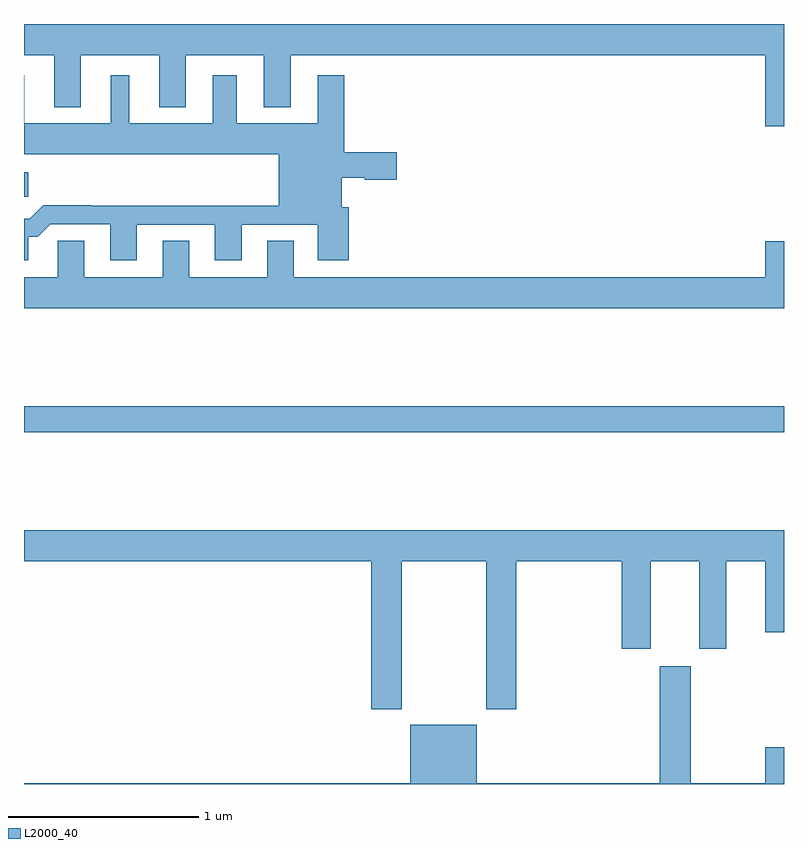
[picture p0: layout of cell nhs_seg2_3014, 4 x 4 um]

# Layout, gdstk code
import gdstk
lib = gdstk.Library(unit=1e-6, precision=1e-09)
def R(c, l, rs):  # rectangles x0, y0, x1, y1
    for r in rs: c.add(gdstk.rectangle(r[:2], r[2:], *l))
def P(c, l, *ps):  # polygons
    for p in ps: c.add(gdstk.Polygon(p, *l))
L2000_40 = (2000, 40)

nhs_seg2_3014 = lib.new_cell('nhs_seg2_3014')
R(nhs_seg2_3014, L2000_40, [(269,645.652,273,645.788), (269,646.891,269.023,647.02)])
P(nhs_seg2_3014, L2000_40, [(273,647.8),(269,647.8),(269,647.636),(269.159,647.636),(269.159,647.363),(269.299,647.363),(269.299,647.636),(269.711,647.636),(269.711,647.363),(269.851,647.363),(269.851,647.636),(270.263,647.636),(270.263,647.363),(270.403,647.363),(270.403,647.636),(272.9,647.636),(272.9,647.262),(273,647.262)],
  [(269.023,646.679),(269.072,646.679),(269.139,646.746),(269.453,646.746),(269.453,646.557),(269.593,646.557),(269.593,646.743),(270.005,646.743),(270.005,646.557),(270.145,646.557),(270.145,646.743),(270.545,646.743),(270.545,646.557),(270.71,646.557),(270.71,646.836),(270.673,646.836),(270.673,646.991),(270.793,646.991),(270.793,646.979),(270.961,646.979),(270.961,647.126),(270.686,647.126),(270.686,647.53),(270.545,647.53),(270.545,647.278),(270.121,647.278),(270.121,647.53),(269.993,647.53),(269.993,647.278),(269.554,647.278),(269.554,647.53),(269.456,647.53),(269.456,647.278),(269.002,647.278),(269.002,647.53),(269,647.53),(269,647.114),(270.341,647.114),(270.341,646.844),(269.357,646.844),(269.357,646.847),(269.102,646.847),(269.031,646.776),(269,646.776),(269,646.557),(269.023,646.557)],
  [(273,646.657),(272.9,646.657),(272.9,646.468),(270.421,646.468),(270.421,646.658),(270.281,646.658),(270.281,646.468),(269.869,646.468),(269.869,646.658),(269.729,646.658),(269.729,646.468),(269.317,646.468),(269.317,646.658),(269.178,646.658),(269.178,646.468),(269,646.468),(269,646.304),(273,646.304)],
  [(270.987,644.972),(271.432,644.972),(271.432,644.193),(271.592,644.193),(271.592,644.972),(272.147,644.972),(272.147,644.511),(272.299,644.511),(272.299,644.972),(272.555,644.972),(272.555,644.511),(272.695,644.511),(272.695,644.972),(272.9,644.972),(272.9,644.598),(273,644.598),(273,645.136),(269,645.136),(269,644.972),(270.827,644.972),(270.827,644.193),(270.987,644.193)],
  [(273,643.993),(272.9,643.993),(272.9,643.804),(272.509,643.804),(272.509,644.419),(272.345,644.419),(272.345,643.804),(271.384,643.804),(271.384,644.113),(271.034,644.113),(271.034,643.804),(269,643.804),(269,643.8),(273,643.8)])

lib.write_gds('nhs_seg2_3014.gds')
